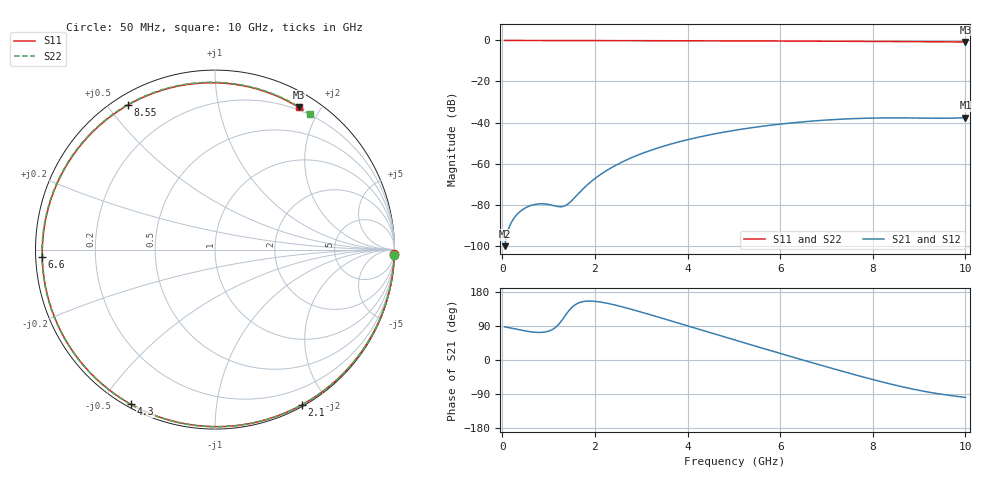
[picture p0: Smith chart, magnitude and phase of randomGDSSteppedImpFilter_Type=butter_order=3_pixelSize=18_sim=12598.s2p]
! freq	dB(S11)	phase(S11)	dB(S12)	phase(S12)
!  dB(S21)	phase(S21)	dB(S22)	phase(S22)
!S-par simulation data
#  GHz  S  DB  R 50
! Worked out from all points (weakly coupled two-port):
!   200 points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, 50 MHz to 10 GHz, reference 50 ohm
!   highest |S21| = -37.67 dB at 10 GHz (marker M1); lowest = -100.3 dB at 50 MHz (marker M2)
!   lowest |S11| = -0.7 dB at 10 GHz (marker M3), VSWR 23.93, Z = 8.41 + j86.7 ohm
!   |S11| at or under -10 dB: nowhere
!   |S22| runs from -0.7 to 0.0 dB; largest |S21 - S12| = 0
!   S11 on the Smith chart (normalised r, x): 50 MHz: 1, -75; 2.1 GHz: 0.02, -1.70; 4.3 GHz: 0.01, -0.59; 6.6 GHz: 0.02, -0.02; 8.55 GHz: 0.04, +0.56; 10 GHz: 0.17, +1.73
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0.05  -0.00 -1.5  -100.28 87.6  -100.28 87.6  -0.00 -1.6
0.7  -0.02 -20.8  -79.96 73.3  -79.96 73.3  -0.02 -21.7
1.4  -0.05 -41.1  -80.02 124.1  -80.02 124.1  -0.05 -42.8
1.75  -0.07 -51.1  -72.21 154.2  -72.21 154.2  -0.07 -53.1
2.1  -0.08 -60.9  -65.68 153.3  -65.68 153.3  -0.08 -63.3
2.65  -0.10 -75.9  -58.59 138.3  -58.59 138.3  -0.10 -78.8
3.4  -0.13 -95.6  -52.11 112.1  -52.11 112.1  -0.13 -99.1
3.85  -0.15 -107.2  -49.22 95.7  -49.22 95.7  -0.15 -111.0
4.3  -0.17 -118.6  -46.83 79.1  -46.83 79.1  -0.17 -122.7
5.05  -0.21 -137.4  -43.68 51.7  -43.68 51.7  -0.21 -141.9
5.85  -0.26 -157.7  -41.17 22.8  -41.17 22.8  -0.26 -162.7
6.6  -0.33 -177.6  -39.47 -3.9  -39.47 -3.9  -0.33 177.0
6.7  -0.34 179.7  -39.28 -7.5  -39.28 -7.5  -0.34 174.2
7.15  -0.38 166.9  -38.58 -23.1  -38.58 -23.1  -0.38 161.3
7.55  -0.42 154.9  -38.14 -36.8  -38.14 -36.8  -0.42 149.1
7.95  -0.47 142.1  -37.86 -50.0  -37.86 -50.0  -0.46 136.2
8.35  -0.51 128.5  -37.74 -62.4  -37.74 -62.4  -0.51 122.5
8.55  -0.54 121.2  -37.74 -68.3  -37.74 -68.3  -0.53 115.2
8.95  -0.59 105.9  -37.81 -78.9  -37.81 -78.9  -0.58 100.0
9.3  -0.63 91.4  -37.90 -86.8  -37.90 -86.8  -0.62 85.8
9.65  -0.68 75.9  -37.90 -93.3  -37.90 -93.3  -0.67 70.8
10  -0.73 59.6  -37.67 -98.9  -37.67 -98.9  -0.71 55.1
